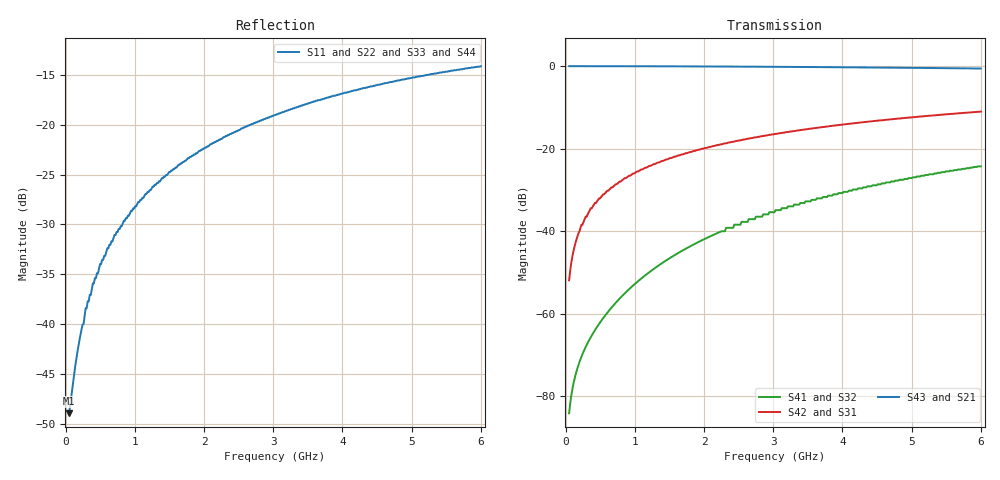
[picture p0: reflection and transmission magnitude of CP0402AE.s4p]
!	AVX THIN FILM OPERATION
!	CP0402 HIGH DIRECTIVITY  COUPLERS
!	P/N CP0402AxxxxENTR
!	Network	Analyzer HP8720ES.07.64:Feb23,2000 Serial No.US39172382
!	Hewlett-Packard
!	13 February 2007	02:45:57
# MHZ S MA R 50
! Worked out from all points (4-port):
!   400 points, 50 MHz to 6 GHz, reference 50 ohm
!   strongest paths, dB at 50 MHz, 1.541 GHz, 3.032 GHz, 4.524 GHz, 6 GHz:
!     S43: 0.0, -0.1, -0.2, -0.4, -0.6
!     S21: 0.0, -0.1, -0.2, -0.4, -0.6
!     S42: -51.9, -22.2, -16.4, -13.2, -11.0
!     S31: -51.9, -22.2, -16.4, -13.2, -11.0
!     S41: -84.1, -46.1, -34.9, -28.6, -24.3
!     S32: -84.1, -46.1, -34.9, -28.6, -24.3
!   lowest |S11| = -49.0 dB at 50 MHz (marker M1), VSWR 1.01, Z = 50.3 - j0.196 ohm
!   |S11| at or under -10 dB: start of sweep to end of sweep
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50  0.003564 -33.2  0.997 -0.2  0.002549 89.7  6.247e-05 84.3
    0.997 -0.2  0.003564 -33.2  6.247e-05 84.3  0.002549 89.7
    0.002549 89.7  6.247e-05 84.3  0.003564 -33.2  0.997 -0.2
    6.247e-05 84.3  0.002549 89.7  0.997 -0.2  0.003564 -33.2
109.649  0.0052 -55.5  0.997 -0.5  0.005589 89.5  0.0001388 78.4
         0.997 -0.5  0.0052 -55.5  0.0001388 78.4  0.005589 89.5
         0.005589 89.5  0.0001388 78.4  0.0052 -55.5  0.997 -0.5
         0.0001388 78.4  0.005589 89.5  0.997 -0.5  0.0052 -55.5
228.947  0.009373 -72.5  0.997 -1.1  0.012 88.9  0.000304 67.6
         0.997 -1.1  0.009373 -72.5  0.000304 67.6  0.012 88.9
         0.012 88.9  0.000304 67.6  0.009373 -72.5  0.997 -1.1
         0.000304 67.6  0.012 88.9  0.997 -1.1  0.009373 -72.5
482.456  0.019 -83.3  0.997 -2.3  0.025 87.7  0.0007552 48.6
         0.997 -2.3  0.019 -83.3  0.0007552 48.6  0.025 87.7
         0.025 87.7  0.0007552 48.6  0.019 -83.3  0.997 -2.3
         0.0007552 48.6  0.025 87.7  0.997 -2.3  0.019 -83.3
1705.263  0.065 -95.5  0.991 -8.0  0.086 81.9  0.00595 6.7
          0.991 -8.0  0.065 -95.5  0.00595 6.7  0.086 81.9
          0.086 81.9  0.00595 6.7  0.065 -95.5  0.991 -8.0
          0.00595 6.7  0.086 81.9  0.991 -8.0  0.065 -95.5
3464.912  0.127 -104.8  0.974 -16.1  0.171 73.9  0.023 -17.4
          0.974 -16.1  0.127 -104.8  0.023 -17.4  0.171 73.9
          0.171 73.9  0.023 -17.4  0.127 -104.8  0.974 -16.1
          0.023 -17.4  0.171 73.9  0.974 -16.1  0.127 -104.8
6000  0.197 -115.2  0.934 -27.3  0.281 63.4  0.061 -41.1
      0.934 -27.3  0.197 -115.2  0.061 -41.1  0.281 63.4
      0.281 63.4  0.061 -41.1  0.197 -115.2  0.934 -27.3
      0.061 -41.1  0.281 63.4  0.934 -27.3  0.197 -115.2
